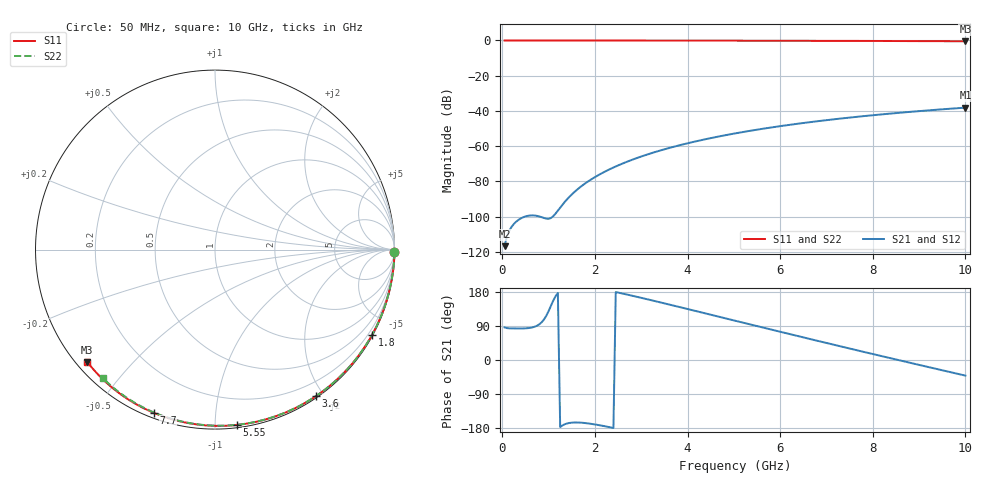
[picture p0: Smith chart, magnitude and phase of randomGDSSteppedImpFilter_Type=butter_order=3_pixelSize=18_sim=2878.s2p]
! freq	dB(S11)	phase(S11)	dB(S12)	phase(S12)
!  dB(S21)	phase(S21)	dB(S22)	phase(S22)
!S-par simulation data
#  GHz  S  DB  R 50
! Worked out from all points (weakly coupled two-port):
!   200 points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, 50 MHz to 10 GHz, reference 50 ohm
!   highest |S21| = -38.14 dB at 10 GHz (marker M1); lowest = -116.8 dB at 50 MHz (marker M2)
!   lowest |S11| = -0.5 dB at 10 GHz (marker M3), VSWR 37.16, Z = 1.54 - j18.9 ohm
!   |S11| at or under -10 dB: nowhere
!   |S22| runs from -0.4 to 0.0 dB; largest |S21 - S12| = 0
!   S11 on the Smith chart (normalised r, x): 50 MHz: open; 1.8 GHz: 0.03, -3.95; 3.6 GHz: 0.02, -1.90; 5.55 GHz: 0.02, -1.13; 7.7 GHz: 0.02, -0.69; 10 GHz: 0.03, -0.38
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0.05  -0.00 -0.8  -116.80 86.0  -116.80 86.0  -0.00 -0.8
0.45  -0.01 -7.2  -100.40 83.2  -100.40 83.2  -0.01 -6.8
0.9  -0.02 -14.4  -100.82 106.8  -100.82 106.8  -0.02 -13.6
1.75  -0.04 -27.7  -81.92 -165.9  -81.92 -165.9  -0.03 -26.2
1.8  -0.04 -28.4  -80.98 -166.5  -80.98 -166.5  -0.03 -26.9
1.85  -0.04 -29.2  -80.08 -167.3  -80.08 -167.3  -0.04 -27.6
2.15  -0.04 -33.8  -75.37 -173.3  -75.37 -173.3  -0.04 -32.0
2.35  -0.05 -36.9  -72.73 -178.1  -72.73 -178.1  -0.04 -34.9
2.55  -0.05 -39.9  -70.39 176.6  -70.39 176.6  -0.05 -37.8
2.95  -0.06 -46.0  -66.35 165.5  -66.35 165.5  -0.06 -43.5
3.4  -0.07 -52.6  -62.56 152.4  -62.56 152.4  -0.07 -49.8
3.6  -0.07 -55.6  -61.07 146.5  -61.07 146.5  -0.07 -52.6
3.9  -0.08 -59.9  -59.02 137.6  -59.02 137.6  -0.08 -56.7
4.3  -0.09 -65.6  -56.57 125.6  -56.57 125.6  -0.09 -62.2
5.05  -0.12 -76.1  -52.66 103.0  -52.66 103.0  -0.11 -72.1
5.55  -0.14 -82.9  -50.44 88.0  -50.44 88.0  -0.13 -78.6
6.1  -0.16 -90.2  -48.28 71.5  -48.28 71.5  -0.15 -85.5
6.7  -0.19 -98.0  -46.20 53.7  -46.20 53.7  -0.18 -92.9
7.7  -0.25 -110.6  -43.24 24.4  -43.24 24.4  -0.24 -104.9
8.35  -0.30 -118.6  -41.59 5.7  -41.59 5.7  -0.29 -112.5
9.2  -0.38 -129.0  -39.69 -18.6  -39.69 -18.6  -0.36 -122.2
10  -0.47 -138.7  -38.14 -41.2  -38.14 -41.2  -0.44 -131.3
